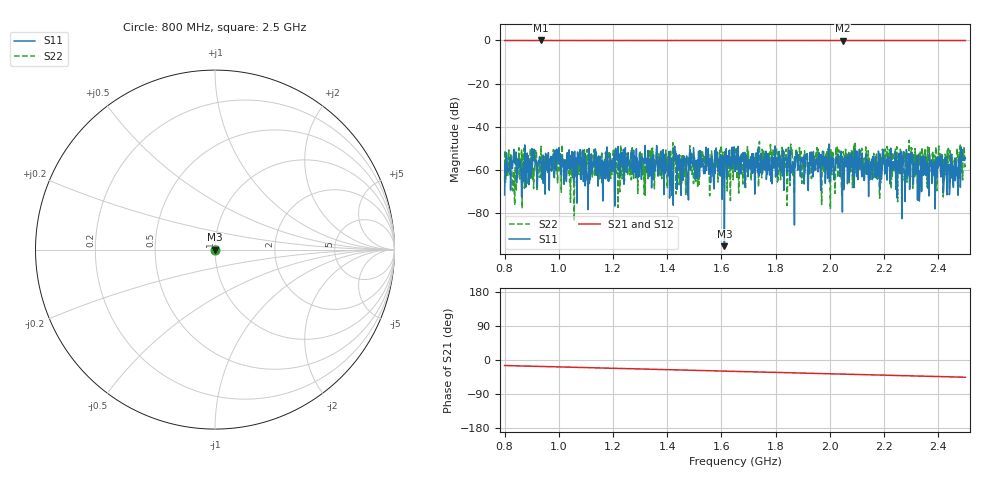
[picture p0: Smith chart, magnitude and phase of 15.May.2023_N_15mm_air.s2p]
!Keysight Technologies N9950B: A.12.38
!Date: Monday, 15 May 2023 15:26:47
!Timezone: (UTC-06:00) Central Time (US & Canada)
!Model: N9950B
!Serial: MY61131330
!GPS Latitude:
!GPS Longitude:
!GPS TimeStamp: 0001-01-01 00:00:00Z
!GPS Seconds Since Last Read: 0
!CHECKSUM:0504934373
!Correction: S11(ON U)S21(ON U)S12(ON U)S22(ON U)
!S2P File: Measurements:S11,S21,S12,S22:
# Hz S DB R 50
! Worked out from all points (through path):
!   1001 points, 800 MHz to 2.5 GHz, reference 50 ohm
!   highest |S21| = 0.02 dB at 932.6 MHz (marker M1); lowest = 0.0 dB at 2.048 GHz (marker M2)
!   group delay of S21, straight-line fit = 50.5 ps
!   lowest |S11| = -95.6 dB at 1.611 GHz (marker M3), VSWR 1.00, Z = 50 - j0.00166 ohm
!   |S11| at or under -10 dB: start of sweep to end of sweep
!   |S22| runs from -83.8 to -46.3 dB; largest |S21 - S12| = 0.0048
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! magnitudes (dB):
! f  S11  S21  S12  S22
! 800 MHz  -71.8  0.0  0.0  -65.4
! 818.7 MHz  -59.4  0.0  0.0  -58.1
! 834 MHz  -50.6  0.0  0.0  -60.8
! 854.4 MHz  -57.7  0.0  0.0  -56.4
! 932.6 MHz  -55.9  0.0  0.0  -61.8
! 1.048 GHz  -51.6  0.0  0.0  -56.2
! 1.084 GHz  -54.4  0.0  0.0  -57.5
! 1.106 GHz  -62.6  0.0  0.0  -54.6
! 1.126 GHz  -56.7  0.0  0.0  -58.2
! 1.368 GHz  -58.2  0.0  0.0  -52.7
! 1.414 GHz  -58.1  0.0  0.0  -53.3
! 1.432 GHz  -52.5  0.0  0.0  -71.3
! 1.611 GHz  -95.6  0.0  0.0  -64.2
! 1.626 GHz  -58.1  0.0  0.0  -64.0
! 1.65 GHz  -60.9  0.0  0.0  -50.8
! 1.934 GHz  -52.2  0.0  0.0  -52.8
! 2.048 GHz  -58.1  0.0  0.0  -52.5
! 2.111 GHz  -58.4  0.0  0.0  -59.9
! 2.184 GHz  -69.3  0.0  0.0  -73.3
! 2.218 GHz  -58.1  0.0  0.0  -54.4
! 2.449 GHz  -63.9  0.0  0.0  -56.8
! 2.5 GHz  -54.8  0.0  0.0  -56.6
